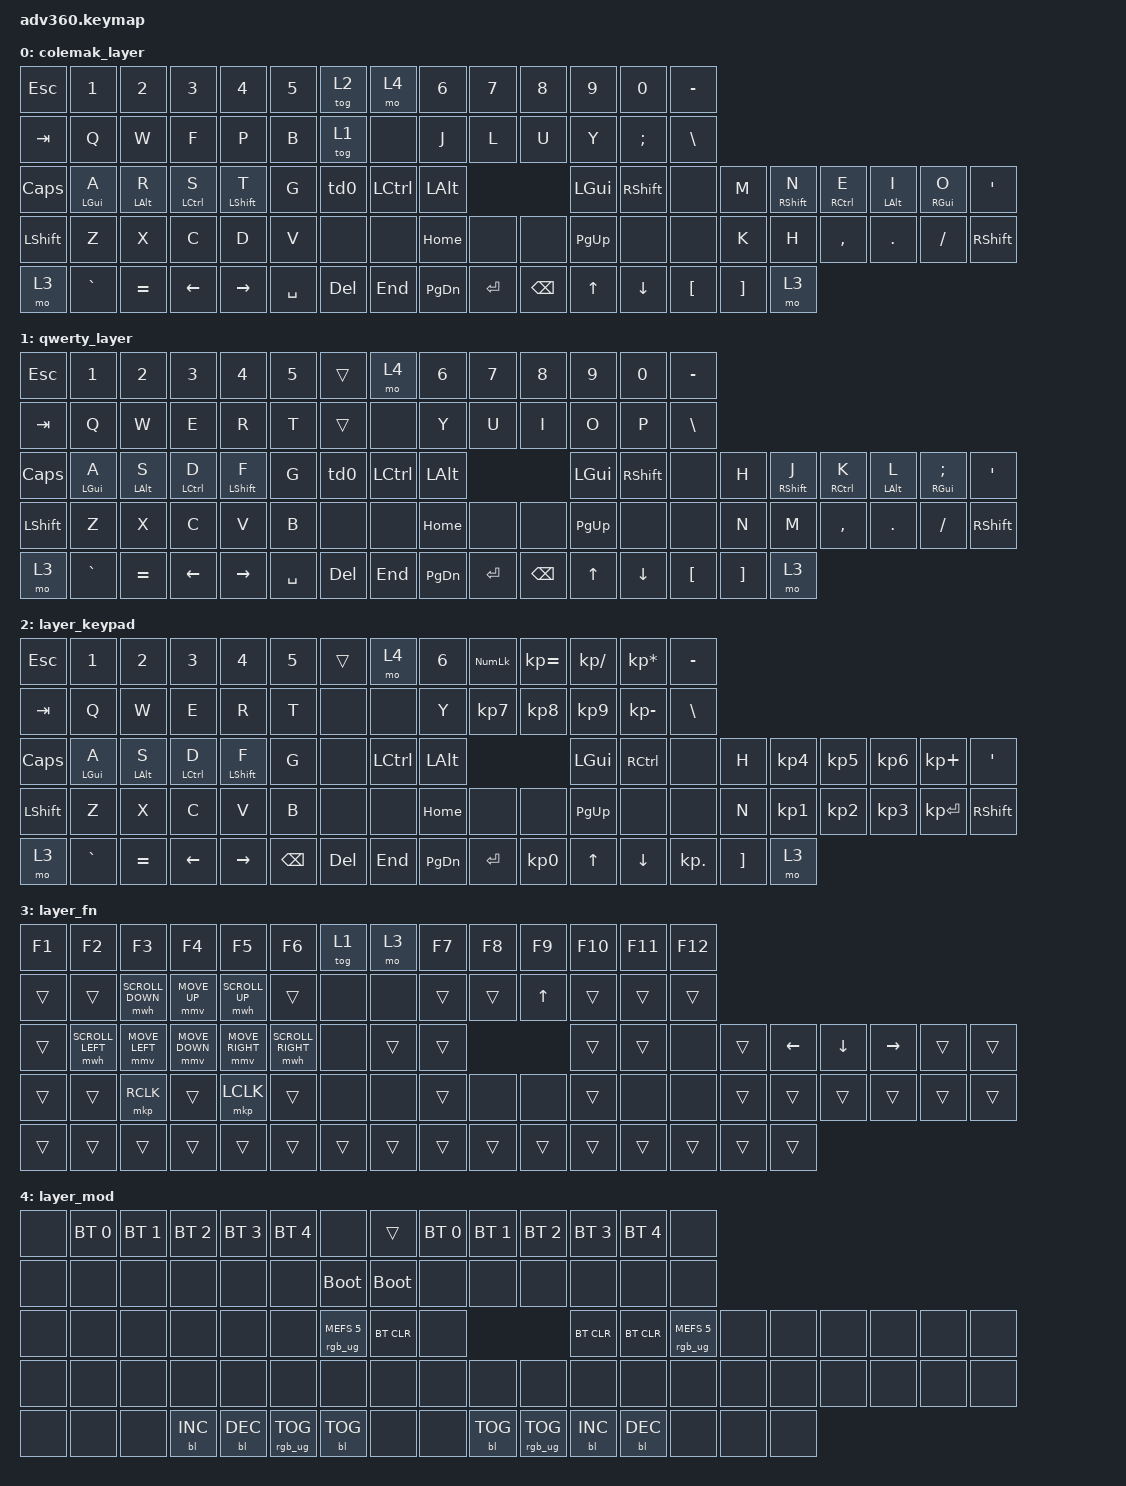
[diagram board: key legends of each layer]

/*
 * Copyright (c) 2020 The ZMK Contributors
 *
 * SPDX-License-Identifier: MIT
 */


/* THIS FILE WAS GENERATED!
 *
 * This file was generated automatically. You may or may not want to
 * edit it directly.
 */

#include <behaviors.dtsi>
#include <dt-bindings/zmk/keys.h>
#include <dt-bindings/zmk/bt.h>
#include <dt-bindings/zmk/rgb.h>
#include <dt-bindings/zmk/backlight.h>
#include <dt-bindings/zmk/mouse.h>

/ {
    behaviors {
		#include "macros.dtsi"
		
        hm: homerow_mods {
            compatible = "zmk,behavior-hold-tap";
            label = "HOMEROW_MODS";
            #binding-cells = <2>;
            tapping-term-ms = <200>;
            quick-tap-ms = <0>;
            flavor = "tap-preferred";
            bindings = <&kp>, <&kp>;
        };
		td0: tap_dance_0 {
            compatible = "zmk,behavior-tap-dance";
            label = "TAP_DANCE_0";
            #binding-cells = <0>;
            tapping-term-ms = <200>;
            bindings = <&none>, <&none>, <&macro_pinkey>;
        };
    };
	
    keymap {
        compatible = "zmk,keymap";

    colemak_layer {
            bindings = <
 &kp ESC     &kp N1    &kp N2    &kp N3     &kp N4     &kp N5   &tog 2                                                           &mo 4     &kp N6     &kp N7     &kp N8         &kp N9        &kp N0          &kp MINUS
   &kp TAB      &kp Q     &kp W     &kp F      &kp P      &kp B   &tog 1                                                           &none     &kp J      &kp L      &kp U          &kp Y         &kp SEMI           &kp BSLH
   &kp CAPS     &hm LGUI A &hm LALT R &hm LCTRL S &hm LSHIFT T &kp G &td0  &kp LCTRL   &kp LALT          &kp LGUI  &kp RSHIFT      &none     &kp M   &hm RSHIFT N &hm RCTRL E     &hm LALT I  &hm RGUI O     &kp SQT
 &kp LSHFT      &kp Z     &kp X     &kp C      &kp D      &kp V  &none      &none   &kp HOME  &none &none &kp PG_UP      &none     &none     &kp K       &kp H     &kp COMMA      &kp DOT       &kp FSLH        &kp RSHFT
     &mo 3  &kp GRAVE  &kp EQUAL    &kp LEFT  &kp RIGHT  &kp SPACE         &kp DEL    &kp END             &kp PG_DN  &kp ENTER  &kp BACKSPACE            &kp UP     &kp DOWN       &kp LBKT      &kp RBKT        &mo 3
            >;
        };

        qwerty_layer {
            bindings = <
 &kp ESC     &kp N1    &kp N2    &kp N3     &kp N4     &kp N5   &trans                                                           &mo 4     &kp N6     &kp N7     &kp N8         &kp N9        &kp N0          &kp MINUS
   &kp TAB      &kp Q     &kp W     &kp E      &kp R      &kp T   &trans                                                           &none     &kp Y      &kp U      &kp I          &kp O         &kp P           &kp BSLH
   &kp CAPS     &hm LGUI A &hm LALT S &hm LCTRL D &hm LSHIFT F &kp G &td0  &kp LCTRL   &kp LALT          &kp LGUI  &kp RSHIFT  &none     &kp H   &hm RSHIFT J &hm RCTRL K     &hm LALT L  &hm RGUI SEMI     &kp SQT
 &kp LSHFT      &kp Z     &kp X     &kp C      &kp V      &kp B  &none      &none   &kp HOME  &none &none &kp PG_UP      &none     &none     &kp N       &kp M     &kp COMMA      &kp DOT       &kp FSLH        &kp RSHFT
     &mo 3  &kp GRAVE  &kp EQUAL    &kp LEFT  &kp RIGHT  &kp SPACE         &kp DEL    &kp END             &kp PG_DN  &kp ENTER  &kp BACKSPACE            &kp UP     &kp DOWN       &kp LBKT      &kp RBKT        &mo 3
            >;
        };

        layer_keypad {
            bindings = <
 &kp ESC     &kp N1    &kp N2    &kp N3     &kp N4    &kp N5             &trans                                                  &mo 4     &kp N6  &kp KP_NUM  &kp KP_EQUAL  &kp KP_DIVIDE  &kp KP_MULTIPLY   &kp MINUS
   &kp TAB      &kp Q     &kp W     &kp E      &kp R     &kp T              &none                                                  &none     &kp Y   &kp KP_N7     &kp KP_N8      &kp KP_N9     &kp KP_MINUS    &kp BSLH
   &kp CAPS     &hm LGUI A &hm LALT S &hm LCTRL D &hm LSHIFT F &kp G &none  &kp LCTRL   &kp LALT          &kp LGUI   &kp RCTRL     &none     &kp H  &kp KP_N4      &kp KP_N5      &kp KP_N6     &kp KP_PLUS     &kp SQT
 &kp LSHFT      &kp Z     &kp X     &kp C      &kp V     &kp B   &none      &none   &kp HOME  &none &none &kp PG_UP      &none     &none     &kp N  &kp KP_N1      &kp KP_N2      &kp KP_N3     &kp KP_ENTER    &kp RSHFT
     &mo 3  &kp GRAVE  &kp EQUAL  &kp LEFT  &kp RIGHT  &kp BSPC            &kp DEL    &kp END             &kp PG_DN   &kp ENTER   &kp KP_N0          &kp UP         &kp DOWN       &kp KP_DOT    &kp RBKT        &mo 3
            >;
        };

        layer_fn {
            bindings = <
 &kp F1  &kp F2  &kp F3  &kp F4  &kp F5  &kp F6            &tog 1   &mo 3  &kp F7  &kp F8  &kp F9  &kp F10  &kp F11  &kp F12
 &trans  &trans  &mwh SCROLL_DOWN  &mmv MOVE_UP  &mwh SCROLL_UP  &trans             &none   &none  &trans  &trans  &kp UP  &trans   &trans   &trans
 &trans  &mwh SCROLL_LEFT  &mmv MOVE_LEFT  &mmv MOVE_DOWN  &mmv MOVE_RIGHT  &mwh SCROLL_RIGHT             &none  &trans  &trans                   &trans   &trans    &none  &trans  &kp LEFT  &kp DOWN  &kp RIGHT  &trans  &trans
 &trans  &trans  &mkp RCLK  &trans  &mkp LCLK  &trans             &none   &none  &trans   &none   &none   &trans    &none    &none  &trans  &trans  &trans  &trans  &trans  &trans
 &trans  &trans  &trans  &trans  &trans  &trans            &trans  &trans  &trans  &trans  &trans   &trans   &trans   &trans  &trans  &trans
            >;
        };

        layer_mod {
            bindings = <
  &none  &bt BT_SEL 0  &bt BT_SEL 1  &bt BT_SEL 2  &bt BT_SEL 3     &bt BT_SEL 4                             &none       &trans  &bt BT_SEL 0  &bt BT_SEL 1     &bt BT_SEL 2  &bt BT_SEL 3  &bt BT_SEL 4                   &none
  &none         &none         &none         &none         &none            &none                       &bootloader  &bootloader         &none         &none            &none         &none         &none                   &none
  &none         &none         &none         &none         &none            &none            &rgb_ug RGB_MEFS_CMD 5   &bt BT_CLR         &none                                   &bt BT_CLR    &bt BT_CLR  &rgb_ug RGB_MEFS_CMD 5   &none   &none   &none   &none   &none   &none
  &none         &none         &none         &none         &none            &none                             &none        &none         &none         &none            &none         &none         &none                   &none   &none   &none   &none   &none   &none   &none
  &none         &none         &none    &bl BL_INC    &bl BL_DEC  &rgb_ug RGB_TOG                        &bl BL_TOG        &none         &none    &bl BL_TOG  &rgb_ug RGB_TOG    &bl BL_INC    &bl BL_DEC                   &none   &none   &none
            >;
        };

    };
};
